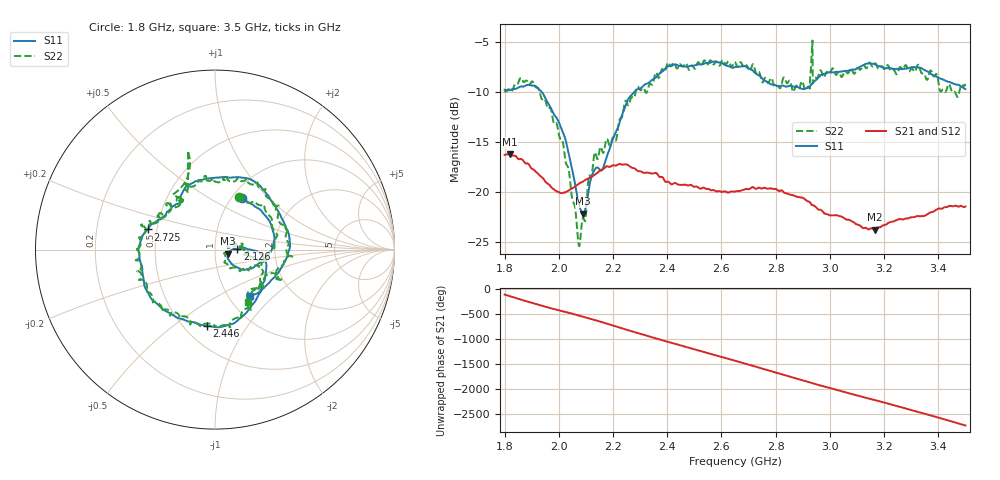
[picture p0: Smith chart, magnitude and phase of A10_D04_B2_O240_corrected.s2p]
! Created with skrf 1.9.0 (http://scikit-rf.org).
# Hz S RI R 50.0
!freq ReS11 ImS11 ReS21 ImS21 ReS12 ImS12 ReS22 ImS22
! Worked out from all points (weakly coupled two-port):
!   1601 points, 1.8 GHz to 3.5 GHz, reference 50 ohm
!   highest |S21| = -16.24 dB at 1.818 GHz (marker M1); lowest = -23.8 dB at 3.165 GHz (marker M2)
!   lowest |S11| = -22.2 dB at 2.09 GHz (marker M3), VSWR 1.17, Z = 57.9 - j2.7 ohm
!   |S11| at or under -10 dB: 1.936 GHz to 2.279 GHz (342.4 MHz wide, 16.2 % of centre)
!   |S22| runs from -25.5 to -4.9 dB; largest |S21 - S12| = 0.0025
!   S11 on the Smith chart (normalised r, x): 1.8 GHz: 1.12, +0.71; 2.126 GHz: 1.28, +0.01; 2.446 GHz: 0.65, -0.67; 2.725 GHz: 0.45, +0.12; 3.5 GHz: 1.26, -0.73
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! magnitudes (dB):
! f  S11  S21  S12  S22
! 1.8 GHz  -9.8  -16.3  -16.3  -9.9
! 1.818 GHz  -9.8  -16.2  -16.3  -9.8
! 1.903 GHz  -9.4  -17.7  -17.7  -9.0
! 1.968 GHz  -11.5  -19.4  -19.4  -11.6
! 2.015 GHz  -14.0  -20.1  -20.1  -15.0
! 2.072 GHz  -21.0  -19.3  -19.3  -25.1
! 2.084 GHz  -22.0  -19.1  -19.0  -23.5
! 2.09 GHz  -22.2  -19.0  -19.0  -22.7
! 2.126 GHz  -18.1  -18.4  -18.4  -17.3
! 2.163 GHz  -17.6  -17.7  -17.7  -16.1
! 2.26 GHz  -10.6  -17.4  -17.4  -11.2
! 2.367 GHz  -8.3  -18.4  -18.3  -8.6
! 2.446 GHz  -7.4  -19.3  -19.3  -7.2
! 2.65 GHz  -7.5  -20.0  -20.0  -7.0
! 2.725 GHz  -8.1  -19.7  -19.7  -8.0
! 2.867 GHz  -9.5  -20.4  -20.4  -10.0
! 2.918 GHz  -9.6  -21.0  -21.0  -9.5
! 2.934 GHz  -9.2  -21.4  -21.3  -5.7
! 3.165 GHz  -7.2  -23.8  -23.8  -7.2
! 3.217 GHz  -7.6  -23.1  -23.1  -7.5
! 3.468 GHz  -9.3  -21.4  -21.4  -10.4
! 3.5 GHz  -9.7  -21.5  -21.5  -9.2
